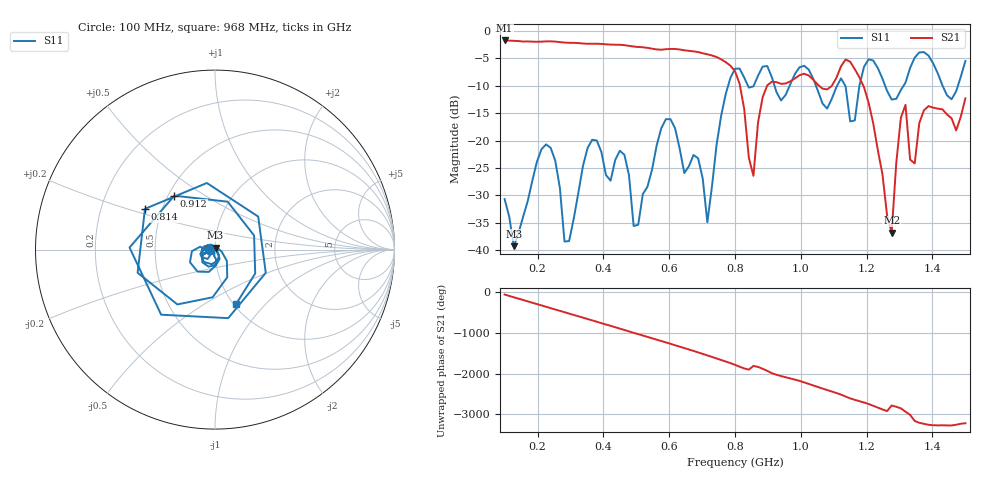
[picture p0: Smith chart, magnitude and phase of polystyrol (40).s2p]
! NanoVNA-App
! Date: 2025-09-26 09:42:11
! Start: 100MHz Stop: 1,5GHz Points: 101
! S-Parameter data: F S11 S21 S12 S22
# Hz S RI R 50
!  Frequency  S11_Real  S11_Imag  S21_Real  S21_Imag  S12_Real  S12_Imag  S22_Real  S22_Imag
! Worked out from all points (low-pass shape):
!   101 points, 100 MHz to 1.5 GHz, reference 50 ohm
!   highest |S21| = -1.79 dB at 100 MHz (marker M1); lowest = -36.8 dB at 1.276 GHz (marker M2)
!   |S21| within 3 dB of the highest: start of sweep to 743.1 MHz
!   lowest |S11| = -39.2 dB at 128 MHz (marker M3), VSWR 1.02, Z = 50.3 + j1.06 ohm
!   |S11| at or under -10 dB: start of sweep to 779.3 MHz; 1.046 GHz to 1.111 GHz (64.77 MHz wide, 6.01 % of centre); 1.135 GHz to 1.178 GHz (43.21 MHz wide, 3.74 % of centre)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
!   S12 and S22 are empty: the file has one direction only
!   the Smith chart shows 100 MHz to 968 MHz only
!   S11 on the Smith chart (normalised r, x): 100 MHz: 0.94, -0.01; 814 MHz: 0.40, +0.23; 912 MHz: 0.54, +0.38; 968 MHz: 1.03, -0.70
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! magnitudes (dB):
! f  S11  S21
! 100 MHz  -30.7  -1.8
! 128 MHz  -39.2  -1.9
! 212 MHz  -21.6  -2.0
! 254 MHz  -23.7  -2.0
! 282 MHz  -38.4  -2.2
! 338 MHz  -24.7  -2.3
! 464 MHz  -22.6  -2.6
! 506 MHz  -35.3  -3.0
! 576 MHz  -17.8  -3.5
! 688 MHz  -23.2  -3.9
! 716 MHz  -34.9  -4.3
! 800 MHz  -6.9  -7.4
! 814 MHz  -6.9  -9.7
! 856 MHz  -10.1  -26.4
! 912 MHz  -8.5  -9.3
! 968 MHz  -9.8  -9.2
! 1.038 GHz  -8.8  -8.9
! 1.178 GHz  -10.0  -8.5
! 1.276 GHz  -12.5  -36.8
! 1.318 GHz  -9.5  -13.5
! 1.346 GHz  -4.9  -24.2
! 1.5 GHz  -5.5  -12.3
